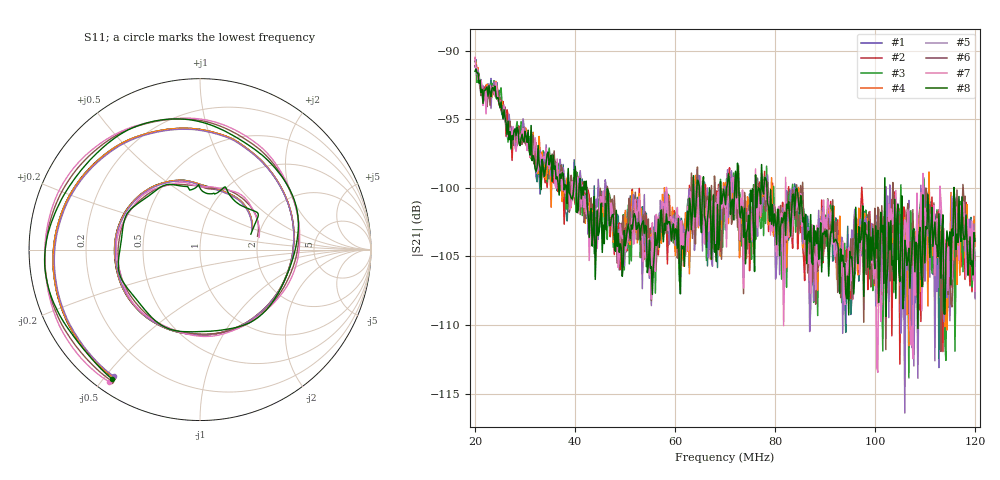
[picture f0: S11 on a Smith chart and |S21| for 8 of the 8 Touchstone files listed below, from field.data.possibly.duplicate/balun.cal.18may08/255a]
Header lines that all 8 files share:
! Anritsu VNA Master:  Model: MS2036C/10/77
! SN:  1601066
! Existing Calibration Information:
! TYPE:  Current Settings,  Active Cal Settings
! # POINTS:  500,  500
! START FREQ:  20.000 MHz,  20.000 MHz
! STOP FREQ:  120.000 MHz,  120.000 MHz
! SOURCE POWER:  High,  High
! IFBW:  50 Hz,  50 Hz
! AVG FACTOR:  1 ,  1
! REF PLANE 1:  0 mm,  0 mm
! REF PLANE 2:  0 mm,  0 mm
! CAL TYPE:  Full S11,  Full S11
! CAL METHOD:  SOLT,  SOLT
! CAL LINE TYPE:  Coax,  Coax
! DUT PORT 1:  K-Conn(F),  K-Conn(F)
! DUT PORT 2:  K-Conn(F),  K-Conn(F)
! CAL STATUS:  OK: Accuracy High,  --
# GHZ S DB R 50.0
! FREQ.GHZ  S11DB  S11A  S21DB  S21A  S12DB  S12A  S22DB  S22A
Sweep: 20 MHz to 120 MHz
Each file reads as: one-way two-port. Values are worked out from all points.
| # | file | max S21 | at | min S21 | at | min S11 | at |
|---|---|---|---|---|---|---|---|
| 1 | a.5a.m2.s2p | -90.64 dB | 20.2 MHz | -113.1 dB | 112.8 MHz | -9.7 dB | 120 MHz |
| 2 | a.5a.m3.s2p | -91.07 dB | 20.2 MHz | -112.8 dB | 105 MHz | -9.7 dB | 120 MHz |
| 3 | a.5a.m4.s2p | -90.77 dB | 20 MHz | -113.9 dB | 106.8 MHz | -9.7 dB | 120 MHz |
| 4 | a.5a.m9.s2p | -90.52 dB | 20 MHz | -111.5 dB | 106.8 MHz | -9.7 dB | 120 MHz |
| 5 | a.5a.m10.s2p | -91.18 dB | 20 MHz | -116.4 dB | 106 MHz | -9.8 dB | 120 MHz |
| 6 | a.5b.m4.s2p | -91.01 dB | 20.2 MHz | -111.9 dB | 113.2 MHz | -9.2 dB | 120 MHz |
| 7 | a.5b.m6.s2p | -90.46 dB | 20 MHz | -113.5 dB | 100.6 MHz | -9.0 dB | 120 MHz |
| 8 | a.5b.s.s2p | -91.32 dB | 20.2 MHz | -110.3 dB | 108.6 MHz | -10.1 dB | 120 MHz |
